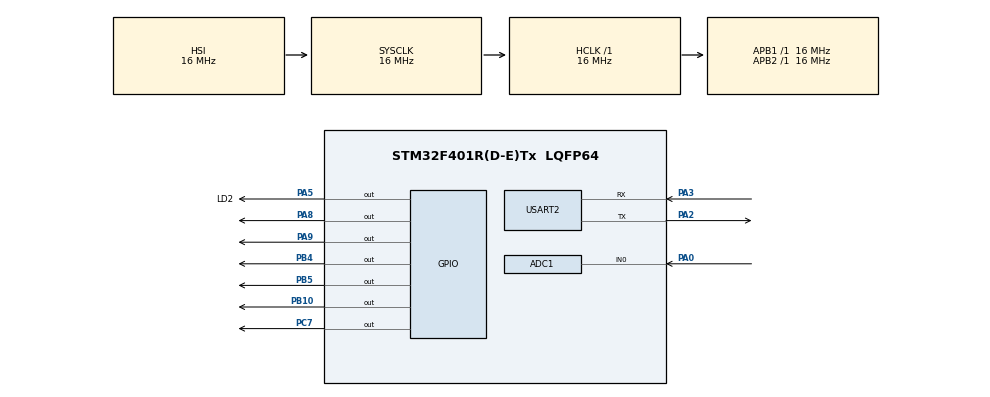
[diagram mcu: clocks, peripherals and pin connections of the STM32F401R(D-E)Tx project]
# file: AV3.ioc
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ADC1.Channel-1\#ChannelRegularConversion=ADC_CHANNEL_0
ADC1.NbrOfConversionFlag=1
ADC1.Rank-1\#ChannelRegularConversion=1
ADC1.SamplingTime-1\#ChannelRegularConversion=ADC_SAMPLETIME_3CYCLES
ADC1.master=1
FREERTOS.Tasks01=defaultTask,24,128,StartDefaultTask,Default,NULL,Dynamic,NULL,NULL
FREERTOS.configUSE_NEWLIB_REENTRANT=1
Mcu.Family=STM32F4
Mcu.Name=STM32F401R(D-E)Tx
Mcu.Package=LQFP64
NVIC.PriorityGroup=NVIC_PRIORITYGROUP_4
NVIC.TIM1_UP_TIM10_IRQn=true\:15\:0\:false\:false\:true\:false\:false\:true\:true
NVIC.TimeBase=TIM1_UP_TIM10_IRQn
NVIC.TimeBaseIP=TIM1
NVIC.USART2_IRQn=true\:5\:0\:false\:false\:true\:true\:true\:true\:true
PA0-WKUP.Signal=ADCx_IN0
PA13.Mode=Serial_Wire
PA13.Signal=SYS_JTMS-SWDIO
PA14.Mode=Serial_Wire
PA14.Signal=SYS_JTCK-SWCLK
PA2.Mode=Asynchronous
PA2.Signal=USART2_TX
PA3.Mode=Asynchronous
PA3.Signal=USART2_RX
PA5.GPIO_Label=LD2
PA5.Signal=GPIO_Output
PA8.Signal=GPIO_Output
PA9.Signal=GPIO_Output
PB10.Signal=GPIO_Output
PB4.Signal=GPIO_Output
PB5.Signal=GPIO_Output
PC7.Signal=GPIO_Output
ProjectManager.HeapSize=0x200
ProjectManager.StackSize=0x400
ProjectManager.TargetToolchain=STM32CubeIDE
RCC.AHBFreq_Value=16000000
RCC.APB1Freq_Value=16000000
RCC.APB2Freq_Value=16000000
RCC.CortexFreq_Value=16000000
RCC.HSE_VALUE=25000000
RCC.HSI_VALUE=16000000
RCC.LSE_VALUE=32768
RCC.SYSCLKFreq_VALUE=16000000
RCC.VCOOutputFreq_Value=192000000
SH.ADCx_IN0.0=ADC1_IN0,IN0
USART2.VirtualMode=VM_ASYNC
VP_FREERTOS_VS_CMSIS_V2.Mode=CMSIS_V2
VP_SYS_VS_tim1.Mode=TIM1
board=custom

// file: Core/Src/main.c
/* USER CODE BEGIN Header */
/**
  ******************************************************************************
  * @file           : main.c
  * @brief          : Main program body
  ******************************************************************************
  * @attention
  *
  * Copyright (c) 2025 STMicroelectronics.
  * All rights reserved.
  *
  * This software is licensed under terms that can be found in the LICENSE file
  * in the root directory of this software component.
  * If no LICENSE file comes with this software, it is provided AS-IS.
  *
  ******************************************************************************
  */
/* USER CODE END Header */
#include "main.h"
#include "cmsis_os.h"

/* USER CODE BEGIN Includes */
#include "cmsis_os.h"
#include "stdio.h"
#include "string.h"
#include "semphr.h"
#include "queue.h"
#include "lcd.h"
/* USER CODE END Includes */

ADC_HandleTypeDef hadc1;

UART_HandleTypeDef huart2;

/* Definitions for defaultTask */
/* REMOVEMOS A DEFAULT TASK PARA USAR A API NATIVA */
/*
osThreadId_t defaultTaskHandle;
const osThreadAttr_t defaultTask_attributes = {
  .name = "defaultTask",
  .stack_size = 128 * 4,
  .priority = (osPriority_t) osPriorityNormal,
};
*/
/* USER CODE BEGIN PV */
// Handles dos objetos RTOS
SemaphoreHandle_t g_MutexLCD;
SemaphoreHandle_t g_MutexCounter;
QueueHandle_t g_QueueSerialRx;

// Variáveis Globais
uint16_t g_u16Counter = 0;   // Variável global para o contador
uint8_t g_rxByte;            // Byte único para recepção UART IT
/* USER CODE END PV */

void SystemClock_Config(void);
static void MX_GPIO_Init(void);
static void MX_ADC1_Init(void);
static void MX_USART2_UART_Init(void);
/* void StartDefaultTask(void *argument); */ /* <-- REMOVIDO */

/* USER CODE BEGIN PFP */
// Protótipos das Tarefas
void vTaskADC_LCD1(void *pvParameters);      // TAREFA 1
void vTaskCounter_LCD2(void *pvParameters); // TAREFA 2
void vTaskSerialRx_LCD2(void *pvParameters); // TAREFA 3
void vTaskLedToggle(void *pvParameters);     // TAREFA 4

// Protótipo do _write para printf
int _write(int file, char *ptr, int len);

// Protótipo do Callback da UART
void HAL_UART_RxCpltCallback(UART_HandleTypeDef *huart);
/* USER CODE END PFP */

int main(void)
{

  /* MCU Configuration--------------------------------------------------------*/

  /* Reset of all peripherals, Initializes the Flash interface and the Systick. */
  HAL_Init();

  /* Configure the system clock */
  SystemClock_Config();

  /* Initialize all configured peripherals */
  MX_GPIO_Init();
  MX_ADC1_Init();
  MX_USART2_UART_Init();
  /* USER CODE BEGIN 2 */

  // Inicializa o LCD
  lcd_init();

  // Criação dos Mutexes
  g_MutexLCD = xSemaphoreCreateMutex();
  g_MutexCounter = xSemaphoreCreateMutex();

  // Criação da Fila para a Serial
  // Fila de 16 bytes. Suficiente para digitação.
  g_QueueSerialRx = xQueueCreate(16, sizeof(uint8_t));

  // Verificação (Boa prática, como nas aulas)
  if(g_MutexLCD == NULL || g_MutexCounter == NULL || g_QueueSerialRx == NULL)
  {
    printf("Falha ao criar objetos RTOS!\n");
    while(1);
  }

  // Inicia a primeira recepção por Interrupção do UART
  // Isso "arma" a interrupção para o primeiro byte
  HAL_UART_Receive_IT(&huart2, &g_rxByte, 1);

  printf("--- Sistema Iniciado ---\n");

  /* USER CODE END 2 */

  /* Init scheduler */
  /* REMOVEMOS AS CHAMADAS CMSIS PARA USAR A API NATIVA (das aulas) */
  /*
  osKernelInitialize();
  */

  /* Create the thread(s) */
  /* creation of defaultTask */
  /* defaultTaskHandle = osThreadNew(StartDefaultTask, NULL, &defaultTask_attributes); */ /* <-- REMOVIDO */

  /* USER CODE BEGIN RTOS_THREADS */
  /* add threads, ... */
  xTaskCreate(vTaskADC_LCD1,
              "TaskADC",
              256,        // Stack. Pode precisar de mais por causa do float/sprintf
              NULL,
              2,          // Prioridade Média
              NULL);

  xTaskCreate(vTaskCounter_LCD2,
              "TaskCounter",
              128,        // Stack
              NULL,
              2,          // Prioridade Média
              NULL);

  xTaskCreate(vTaskSerialRx_LCD2,
              "TaskSerialRx",
              256,        // Stack
              NULL,
              2,          // Prioridade Média
              NULL);

  xTaskCreate(vTaskLedToggle,
              "TaskLED",
              configMINIMAL_STACK_SIZE, //
              NULL,
              1,          // Prioridade Baixa
              NULL);
  /* USER CODE END RTOS_THREADS */

  /* Start scheduler */
  /* osKernelStart(); */ /* <-- REMOVIDO */
  vTaskStartScheduler();

  /* We should never get here as control is now taken by the scheduler */

  /* Infinite loop */
  while (1)
  {

  }
}

void SystemClock_Config(void)
{
  RCC_OscInitTypeDef RCC_OscInitStruct = {0};
  RCC_ClkInitTypeDef RCC_ClkInitStruct = {0};

  /** Configure the main internal regulator output voltage
  */
  __HAL_RCC_PWR_CLK_ENABLE();
  __HAL_PWR_VOLTAGESCALING_CONFIG(PWR_REGULATOR_VOLTAGE_SCALE2);

  /** Initializes the RCC Oscillators according to the specified parameters
  * in the RCC_OscInitTypeDef structure.
  */
  RCC_OscInitStruct.OscillatorType = RCC_OSCILLATORTYPE_HSI;
  RCC_OscInitStruct.HSIState = RCC_HSI_ON;
  RCC_OscInitStruct.HSICalibrationValue = RCC_HSICALIBRATION_DEFAULT;
  RCC_OscInitStruct.PLL.PLLState = RCC_PLL_NONE;
  if (HAL_RCC_OscConfig(&RCC_OscInitStruct) != HAL_OK)
  {
    Error_Handler();
  }

  /** Initializes the CPU, AHB and APB buses clocks
  */
  RCC_ClkInitStruct.ClockType = RCC_CLOCKTYPE_HCLK|RCC_CLOCKTYPE_SYSCLK
                              |RCC_CLOCKTYPE_PCLK1|RCC_CLOCKTYPE_PCLK2;
  RCC_ClkInitStruct.SYSCLKSource = RCC_SYSCLKSOURCE_HSI;
  RCC_ClkInitStruct.AHBCLKDivider = RCC_SYSCLK_DIV1;
  RCC_ClkInitStruct.APB1CLKDivider = RCC_HCLK_DIV1;
  RCC_ClkInitStruct.APB2CLKDivider = RCC_HCLK_DIV1;

  if (HAL_RCC_ClockConfig(&RCC_ClkInitStruct, FLASH_LATENCY_0) != HAL_OK)
  {
    Error_Handler();
  }
}

static void MX_ADC1_Init(void)
{

  ADC_ChannelConfTypeDef sConfig = {0};

  /** Configure the global features of the ADC (Clock, Resolution, Data Alignment and number of conversion)
  */
  hadc1.Instance = ADC1;
  hadc1.Init.ClockPrescaler = ADC_CLOCK_SYNC_PCLK_DIV2;
  hadc1.Init.Resolution = ADC_RESOLUTION_12B;
  hadc1.Init.ScanConvMode = DISABLE;
  hadc1.Init.ContinuousConvMode = DISABLE;
  hadc1.Init.DiscontinuousConvMode = DISABLE;
  hadc1.Init.ExternalTrigConvEdge = ADC_EXTERNALTRIGCONVEDGE_NONE;
  hadc1.Init.ExternalTrigConv = ADC_SOFTWARE_START;
  hadc1.Init.DataAlign = ADC_DATAALIGN_RIGHT;
  hadc1.Init.NbrOfConversion = 1;
  hadc1.Init.DMAContinuousRequests = DISABLE;
  hadc1.Init.EOCSelection = ADC_EOC_SINGLE_CONV;
  if (HAL_ADC_Init(&hadc1) != HAL_OK)
  {
    Error_Handler();
  }

  /** Configure for the selected ADC regular channel its corresponding rank in the sequencer and its sample time.
  */
  sConfig.Channel = ADC_CHANNEL_0;
  sConfig.Rank = 1;
  sConfig.SamplingTime = ADC_SAMPLETIME_3CYCLES;
  if (HAL_ADC_ConfigChannel(&hadc1, &sConfig) != HAL_OK)
  {
    Error_Handler();
  }

}

static void MX_USART2_UART_Init(void)
{

  huart2.Instance = USART2;
  huart2.Init.BaudRate = 115200;
  huart2.Init.WordLength = UART_WORDLENGTH_8B;
  huart2.Init.StopBits = UART_STOPBITS_1;
  huart2.Init.Parity = UART_PARITY_NONE;
  huart2.Init.Mode = UART_MODE_TX_RX;
  huart2.Init.HwFlowCtl = UART_HWCONTROL_NONE;
  huart2.Init.OverSampling = UART_OVERSAMPLING_16;
  if (HAL_UART_Init(&huart2) != HAL_OK)
  {
    Error_Handler();
  }

}

static void MX_GPIO_Init(void)
{
  GPIO_InitTypeDef GPIO_InitStruct = {0};

  /* GPIO Ports Clock Enable */
  __HAL_RCC_GPIOA_CLK_ENABLE();
  __HAL_RCC_GPIOB_CLK_ENABLE();
  __HAL_RCC_GPIOC_CLK_ENABLE();

  /*Configure GPIO pin Output Level */
  HAL_GPIO_WritePin(GPIOB, GPIO_PIN_10|GPIO_PIN_4|GPIO_PIN_5, GPIO_PIN_RESET);

  /*Configure GPIO pin Output Level */
  HAL_GPIO_WritePin(GPIOC, GPIO_PIN_7, GPIO_PIN_RESET);

  /*Configure GPIO pin Output Level */
  HAL_GPIO_WritePin(GPIOA, LD2_Pin|GPIO_PIN_8|GPIO_PIN_9, GPIO_PIN_RESET);

  /*Configure GPIO pins : PB10 PB4 PB5 */
  GPIO_InitStruct.Pin = GPIO_PIN_10|GPIO_PIN_4|GPIO_PIN_5;
  GPIO_InitStruct.Mode = GPIO_MODE_OUTPUT_PP;
  GPIO_InitStruct.Pull = GPIO_NOPULL;
  GPIO_InitStruct.Speed = GPIO_SPEED_FREQ_LOW;
  HAL_GPIO_Init(GPIOB, &GPIO_InitStruct);

  /*Configure GPIO pin : PC7 */
  GPIO_InitStruct.Pin = GPIO_PIN_7;
  GPIO_InitStruct.Mode = GPIO_MODE_OUTPUT_PP;
  GPIO_InitStruct.Pull = GPIO_NOPULL;
  GPIO_InitStruct.Speed = GPIO_SPEED_FREQ_LOW;
  HAL_GPIO_Init(GPIOC, &GPIO_InitStruct);

  /*Configure GPIO pin : LD2_Pin */
  GPIO_InitStruct.Pin = LD2_Pin;
  GPIO_InitStruct.Mode = GPIO_MODE_OUTPUT_PP;
  GPIO_InitStruct.Pull = GPIO_NOPULL;
  GPIO_InitStruct.Speed = GPIO_SPEED_FREQ_LOW;
  HAL_GPIO_Init(LD2_GPIO_Port, &GPIO_InitStruct);

  /*Configure GPIO pins : PA8 PA9 */
  GPIO_InitStruct.Pin = GPIO_PIN_8|GPIO_PIN_9;
  GPIO_InitStruct.Mode = GPIO_MODE_OUTPUT_PP;
  GPIO_InitStruct.Pull = GPIO_NOPULL;
  GPIO_InitStruct.Speed = GPIO_SPEED_FREQ_LOW;
  HAL_GPIO_Init(GPIOA, &GPIO_InitStruct);

}

/* USER CODE BEGIN 4 */

/**
  * @brief Implementação do _write para redirecionar printf para UART2
  */
int _write(int file, char *ptr, int len)
{
  HAL_UART_Transmit(&huart2, (uint8_t*)ptr, len, HAL_MAX_DELAY);
  return len;
}

/**
  * @brief TAREFA 1: Leitura ADC, Teclas, Display L1 e Serial
  */
void vTaskADC_LCD1(void *pvParameters)
{
  uint32_t adc_val;
  float voltage;
  char key_name[7] = "NONE  "; // 6 chars + \0 (para apagar "SELECT")
  char buffer[17]; // Buffer para a linha do LCD (16 chars + \0)

  for(;;)
  {
    // 1. Leitura do ADC (Usando HAL)
    HAL_ADC_Start(&hadc1);
    if(HAL_ADC_PollForConversion(&hadc1, 100) == HAL_OK)
    {
      adc_val = HAL_ADC_GetValue(&hadc1);
    }
    HAL_ADC_Stop(&hadc1);

    voltage = (float)adc_val * (3.3f / 4095.0f);

    // 2. Lógica das Teclas (Valores adaptados para ADC raw)
        if (adc_val < 50) // RIGHT
        {
            strcpy(key_name, "RIGHT ");
        }
        else if (adc_val > 800 && adc_val < 850) // UP
        {
            strcpy(key_name, "UP    ");
            // Incrementa o contador global (Lógica original mantida)
            if (xSemaphoreTake(g_MutexCounter, portMAX_DELAY) == pdTRUE) {
                g_u16Counter++;
                xSemaphoreGive(g_MutexCounter);
            }
        }
        else if (adc_val > 1950 && adc_val < 2050) // DOWN
        {
            strcpy(key_name, "DOWN  ");
        }
        else if (adc_val > 3050 && adc_val < 3150) // LEFT
        {
            strcpy(key_name, "LEFT  ");
        }
        else if (adc_val > 4000 && adc_val < 5050) // SELECT
        {
            strcpy(key_name, "SELECT"); // "SELECT" já tem 6 chars
        }
        else // NONE
        {
            strcpy(key_name, "NONE  ");
        }

    // 3. Envia Tensão pela Serial [A]
    // Usamos printf graças ao _write()
    //printf("TENSAO=%.1fV\n", voltage);

    // 4. Escreve no LCD [1, 2]
    // Protegendo o acesso ao LCD com o Mutex
    if(xSemaphoreTake(g_MutexLCD, portMAX_DELAY) == pdTRUE)
    {
      // Formata a string: "TENSAO=X.XV KEY"
      sprintf(buffer, "TENSAO=%.1fV%s", voltage, key_name);

      lcd_put_cur(0, 0); // Linha 1, Coluna 0
      lcd_send_string(buffer);

      // Libera o Mutex do LCD
      xSemaphoreGive(g_MutexLCD);
    }

    // Aguarda 500ms
    vTaskDelay(pdMS_TO_TICKS(500));
  }
}

/**
  * @brief TAREFA 2: Envia Contador para LCD L2 e Serial
  */
void vTaskCounter_LCD2(void *pvParameters)
{
  uint16_t local_counter;
  char buffer[11]; // "CONT=XXXXX "

  for(;;)
  {
    // 1. Lê o contador global de forma segura
    if(xSemaphoreTake(g_MutexCounter, portMAX_DELAY) == pdTRUE)
    {
      local_counter = g_u16Counter;
      xSemaphoreGive(g_MutexCounter);
    }

    // 2. Envia Contador pela Serial [B]
    //printf("CONTADOR=%u\n", local_counter);

    // 3. Escreve no LCD [3]
    // Protegendo o acesso ao LCD
    if(xSemaphoreTake(g_MutexLCD, portMAX_DELAY) == pdTRUE)
    {
      // Formata: "CONT=XXXXX"
      // O "%-5u" preenche com espaços à direita para apagar valores antigos
      sprintf(buffer, "CONT=%-5u", local_counter);

      lcd_put_cur(1, 0); // Linha 2, Coluna 0
      lcd_send_string(buffer);

      // Libera o Mutex
      xSemaphoreGive(g_MutexLCD);
    }

    // Aguarda 200ms
    vTaskDelay(pdMS_TO_TICKS(200));
  }
}

/**
  * @brief TAREFA 3: Recebe String Serial e mostra no LCD L2
  */
void vTaskSerialRx_LCD2(void *pvParameters)
{
  uint8_t rx_char;
  char str_buffer[6]; // Buffer para 5 caracteres + '\0'
  uint8_t index = 0;
  char lcd_output[7]; // Buffer para 6 caracteres (para padding) + '\0'

  for(;;)
  {
    // 1. Aguarda um byte chegar na fila (enviado pela Interrupção)
    if(xQueueReceive(g_QueueSerialRx, &rx_char, portMAX_DELAY) == pdPASS)
    {
      // 2. Adiciona o caractere ao buffer
      str_buffer[index] = (char)rx_char;
      index++;

      // 3. Verifica se o buffer acumulou 5 caracteres
      if (index == 5)
      {
          str_buffer[index] = '\0'; // Finaliza a string

          // Prepara a string para o LCD. O "%-6s" garante que 6 caracteres
          // sejam escritos, preenchendo com espaços se a string for menor.
          // Como str_buffer tem 5 chars, isso vira "XXXXX ".
          sprintf(lcd_output, "%-6s", str_buffer);

          // 4. Escreve no LCD [4]
          if(xSemaphoreTake(g_MutexLCD, portMAX_DELAY) == pdTRUE)
          {
            lcd_put_cur(1, 10); // Linha 2, coluna 10
            lcd_send_string(lcd_output);
            xSemaphoreGive(g_MutexLCD);
          }

          // 5. Reseta o índice para a próxima string de 5 caracteres
          index = 0;
      }
    }
  }
}

/**
  * @brief TAREFA 4: Toggle LED do Usuário
  */
void vTaskLedToggle(void *pvParameters)
{
  for(;;)
  {
    HAL_GPIO_TogglePin(LD2_GPIO_Port, LD2_Pin); // LD2 é PA5
    vTaskDelay(pdMS_TO_TICKS(500)); // Aguarda 500ms
  }
}

/**
  * @brief Callback de Interrupção da UART.
  * Chamada pela HAL sempre que um byte é recebido.
  */
void HAL_UART_RxCpltCallback(UART_HandleTypeDef *huart)
{
  if(huart->Instance == USART2)
  {
    BaseType_t xHigherPriorityTaskWoken = pdFALSE;

    // Envia o byte recebido (g_rxByte) para a fila
    xQueueSendFromISR(g_QueueSerialRx, &g_rxByte, &xHigherPriorityTaskWoken);

    // Rearma a interrupção para o próximo byte
    HAL_UART_Receive_IT(&huart2, &g_rxByte, 1);

    // Se a fila acordou uma tarefa de prioridade maior, força a troca de contexto
    portYIELD_FROM_ISR(xHigherPriorityTaskWoken);
  }
}
/* USER CODE END 4 */

/*
void StartDefaultTask(void *argument)
{
  */
  /* USER CODE BEGIN 5 */
  /* Infinite loop */
/*
  for(;;)
  {
    osDelay(1);
  }
  */
  /* USER CODE END 5 */
/*
}
*/

void HAL_TIM_PeriodElapsedCallback(TIM_HandleTypeDef *htim)
{
  if (htim->Instance == TIM1)
  {
    HAL_IncTick();
  }
}

void Error_Handler(void)
{
  __disable_irq();
  while (1)
  {
  }
}
